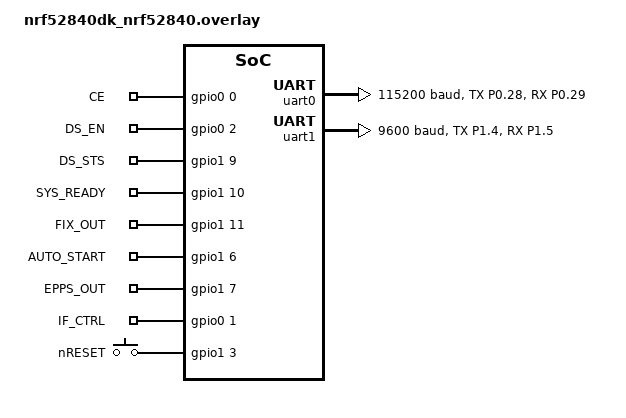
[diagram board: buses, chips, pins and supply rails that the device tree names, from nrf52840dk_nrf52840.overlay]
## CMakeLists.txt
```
cmake_minimum_required(VERSION 3.20.0)
find_package(Zephyr REQUIRED HINTS $ENV{ZEPHYR_BASE})

project(GPS_UART)


target_sources(app PRIVATE src/main.c)

target_sources(app PRIVATE src/isc_config/uart.c)
target_sources(app PRIVATE src/isc_config/GPS_config_io.c)
target_sources(app PRIVATE src/isc_config/cmd.c)

target_include_directories(app PRIVATE src/isc_config)
```

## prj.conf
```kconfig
CONFIG_GPIO=y
CONFIG_PINCTRL=y
CONFIG_CONSOLE=y
CONFIG_SERIAL=y
CONFIG_UART_CONSOLE=y
CONFIG_UART_ASYNC_API=y
CONFIG_PRINTK=y

# CONFIG_USE_SEGGER_RTT=n
# CONFIG_DK_LIBRARY=y



# # Configure Bluetooth
# CONFIG_BT=y
# CONFIG_BT_PERIPHERAL=y
# CONFIG_BT_DEVICE_NAME="Remote_controller"
# CONFIG_BT_DEVICE_APPEARANCE=0
# CONFIG_BT_MAX_CONN=1
# CONFIG_BT_LL_SOFTDEVICE=y

# CONFIG_ASSERT=y

# #CONFIG NFC PIN AS GPIO
# CONFIG_NFCT_PINS_AS_GPIOS=y
```

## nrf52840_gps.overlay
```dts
/* 
/ {
    chosen {
        zephyr,console = &uart0;
        zephyr,shell-uart = &uart0;
        zephyr,uart-mcumgr = &uart0;

    };

    gpio {
        compatible = "gpio-keys";
        CE: CE {
            gpios = <&gpio0 0 0>;
        };
        DS_EN:DS_EN {
            
            gpios = <&gpio0 11 0 >;
        };

        DS_STS:DS_STS {
            gpios = <&gpio0 17 0>;
        };

        SYS_READY:SYS_READY {
            gpios = <&gpio0 13 0>;
        };

        FIX_OUT:FIX_OUT {
            gpios = <&gpio0 22 0>;
        };

        AUTO_START:AUTO_START {
            // gpios = <&gpio0 5 0 >;
            // gpios = <&gpio0 14 0 >;
            gpios = <&gpio1 2 0 >;
        };

        EPPS_OUT:EPPS_OUT {
            gpios = <&gpio0 16 0>;
        };

        
        IF_CTRL:IF_CTRL {
            gpios = <&gpio0 12 0 >;
        };

        nRESET:nRESET {
            gpios = <&gpio1 3 0>;
        };

    };

    aliases {
        ce = &CE;
        dsen = &DS_EN;
        dssts = &DS_STS;
        sysready = &SYS_READY;
        fixout = &FIX_OUT;
        autostart = &AUTO_START;
        eppsout = &EPPS_OUT;
        ifctrl = &IF_CTRL;
        nreset=&nRESET;
        };
    };


    &gpio0 {
        status = "okay";
    };
    
    &gpio1 {
        status = "okay";
    };
    
    &uart0 {
        status = "okay";
        current-speed = <115200>;
        pinctrl-0 = <&uart0_default>;
        pinctrl-names = "default";
    };
    
&pinctrl {
    uart0_default: uart0_default {
        group1 {
            psels = <NRF_PSEL(UART_TX, 0, 6)>, <NRF_PSEL(UART_RX, 0, 8)>;
        };
    };
};



&uart1 {
    status = "okay";
};

&uart1 {
    pinctrl-0 = <&uart1_default>;
    pinctrl-names = "default";
    current-speed = < 9600 >;
};

&pinctrl {
    uart1_default: uart1_default {
        group1 {
            psels = <NRF_PSEL(UART_TX, 1, 4)>, <NRF_PSEL(UART_RX, 1, 5)>;
        };
    };
};

 */
```

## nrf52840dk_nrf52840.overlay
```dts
// To get started, press Ctrl+Space to bring up the completion menu and view the available nodes.

// You can also use the buttons in the sidebar to perform actions on nodes.
// Actions currently available include:

// * Enabling / disabling the node
// * Adding the bus to a bus
// * Removing the node
// * Connecting ADC channels

// For more help, browse the DeviceTree documentation at https://docs.zephyrproject.org/latest/guides/dts/index.html
// You can also visit the nRF DeviceTree extension documentation at https://nrfconnect.github.io/vscode-nrf-connect/devicetree/nrfdevicetree.html

/ {
    chosen {
        zephyr,console = &uart0;
        zephyr,shell-uart = &uart0;
        zephyr,uart-mcumgr = &uart0;

    };

    gpio {
        compatible = "gpio-keys";
        CE: CE {
            gpios = <&gpio0 0 0>;
        };
        DS_EN:DS_EN {
            
            gpios = <&gpio0 2 0 >;
        };

        DS_STS:DS_STS {
            gpios = <&gpio1 9 0>;
        };

        SYS_READY:SYS_READY {
            gpios = <&gpio1 10 0>;
        };

        FIX_OUT:FIX_OUT {
            gpios = <&gpio1 11 0>;
        };

        AUTO_START:AUTO_START {
            // gpios = <&gpio0 5 0 >;
            // gpios = <&gpio0 14 0 >;
            gpios = <&gpio1 6 0 >;
        };

        EPPS_OUT:EPPS_OUT {
            gpios = <&gpio1 7 0>;
        };

        
        IF_CTRL:IF_CTRL {
            gpios = <&gpio0 1 0 >;
        };

        nRESET:nRESET {
            gpios = <&gpio1 3 0>;
        };

    };

    aliases {
        ce = &CE;
        dsen = &DS_EN;
        dssts = &DS_STS;
        sysready = &SYS_READY;
        fixout = &FIX_OUT;
        autostart = &AUTO_START;
        eppsout = &EPPS_OUT;
        ifctrl = &IF_CTRL;
        nreset=&nRESET;
        };
    };


    &gpio0 {
        status = "okay";
    };
    
    &gpio1 {
        status = "okay";
    };
    
    &uart0 {
        status = "okay";
        current-speed = <115200>;
        pinctrl-0 = <&uart0_default>;
        pinctrl-names = "default";
    };
    
&pinctrl {
    uart0_default: uart0_default {
        group1 {
            psels = <NRF_PSEL(UART_TX, 0, 28)>, <NRF_PSEL(UART_RX, 0, 29)>;
        };
    };
};



&uart1 {
    status = "okay";
};

&uart1 {
    pinctrl-0 = <&uart1_default>;
    pinctrl-names = "default";
    current-speed = < 9600 >;
};

&pinctrl {
    uart1_default: uart1_default {
        group1 {
            psels = <NRF_PSEL(UART_TX, 1, 4)>, <NRF_PSEL(UART_RX, 1, 5)>;
        };
    };
};
```

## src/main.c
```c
#include <zephyr/kernel.h>
#include <zephyr/device.h>
#include <zephyr/devicetree.h>
#include <zephyr/sys/printk.h>
#include <zephyr/drivers/gpio.h>
#include <zephyr/drivers/uart.h>


#include "uart.h"
#include "cmd.h"
#include "GPS_config_io.h"
// #include <stdio.h>
// #include <string.h>
// #include <stdlib.h>
// #include <stdarg.h>

#define SLEEP_TIME_MS 1000


int main(void)
{
	int ret,err;


	printk("COMMUNICATION START for GPS with Nordic DK\r\n");
		

	const struct uart_config uart_cfg = {
		.baudrate  = 115200,
		.parity    = UART_CFG_PARITY_NONE,
		.stop_bits = UART_CFG_STOP_BITS_1, 
		.data_bits = UART_CFG_DATA_BITS_8, 
		.flow_ctrl = UART_CFG_FLOW_CTRL_NONE
	};

	
	err = uart_configure(uart, &uart_cfg); 

	    if (!device_is_ready(IF_CTRL.port))
        {
                printk("GPIO device is not ready\r\n");
                return 1;
        }

		ret = gpio_pin_configure_dt(&DS_EN, GPIO_INPUT | GPIO_ACTIVE_HIGH | GPIO_PULL_UP);
        if (ret < 0)
        {
                return 1;
        }
		ret = gpio_pin_configure_dt(&IF_CTRL, GPIO_INPUT |  GPIO_PULL_DOWN);
        if (ret < 0)
        {
                return 1;
        }

		// ret = gpio_pin_configure_dt(&AUTO_START, GPIO_INPUT |  GPIO_ACTIVE_HIGH | GPIO_PULL_UP);
        // if (ret < 0)
        // {
        //         return 1;
        // }

		ret = gpio_pin_configure_dt(&AUTO_START, GPIO_OUTPUT );
        if (ret < 0)
        {
                return 1;
        }

		ret = gpio_pin_configure_dt(&nRESET, GPIO_OUTPUT );
        if (ret < 0)
        {
                return 1;
        }

	if (!device_is_ready(uart)){
		printk("UART device not ready\r\n");
		return 1 ;
	}

	
	gpio_pin_set_dt(&DS_EN,HIGH);

	gpio_pin_set_dt(&IF_CTRL,LOW);

	gpio_pin_set_dt(&nRESET,HIGH);

	gpio_pin_set_dt(&AUTO_START,LOW);
	

	ret = uart_callback_set(uart, uart_cb, NULL);
	if (ret) {
		return ret;
	}


	k_msleep(1000);

	// ret = uart_rx_enable(uart ,Rxbuf,sizeof(Rxbuf),SYS_FOREVER_US);
	// if (ret)
	// {
	// 	printk("uart_rx_enable failed with ret=%d\n", ret);
	// 	return ret;
	// }


	//  firmware for E65 GPS 

	// gps_auto_start();
	
	// gps_baudrate_cmd("115200");

	// gps_check_version_cmd('0');

	gps_start_cmd('C','0');

	// gps_stop_cmd('0');

	// gps_reset_cmd('0');

	// gps_gns_cmd('0','0');

	// gps_pps_cmd('0','0',"-1000");

	// gps_msk_cmd('0',"10");

	// gps_nmea_cmd("GGA",'0');

	// gps_enm_cmd('0');

	// gps_init_pos_cmd('0',"36","137","-10","5");

	// gps_set_time_cmd('0',"070615","14","02","2024");

	// gps_sls_cmd("16",'M');

	// gps_clr_cmd('1');

	// gps_sav_cmd('1');

	// gps_hwc_cmd('0','0','0');

	// gps_icf_cmd("ALL");

	// gps_ibe_cmd("000000","01","01","0001",'0',"0","0","0","0");

	// gps_qzs_cmd("0047");

	// gps_psm_cmd('1','0','0','0','0');
	
    return 0;

}
```
